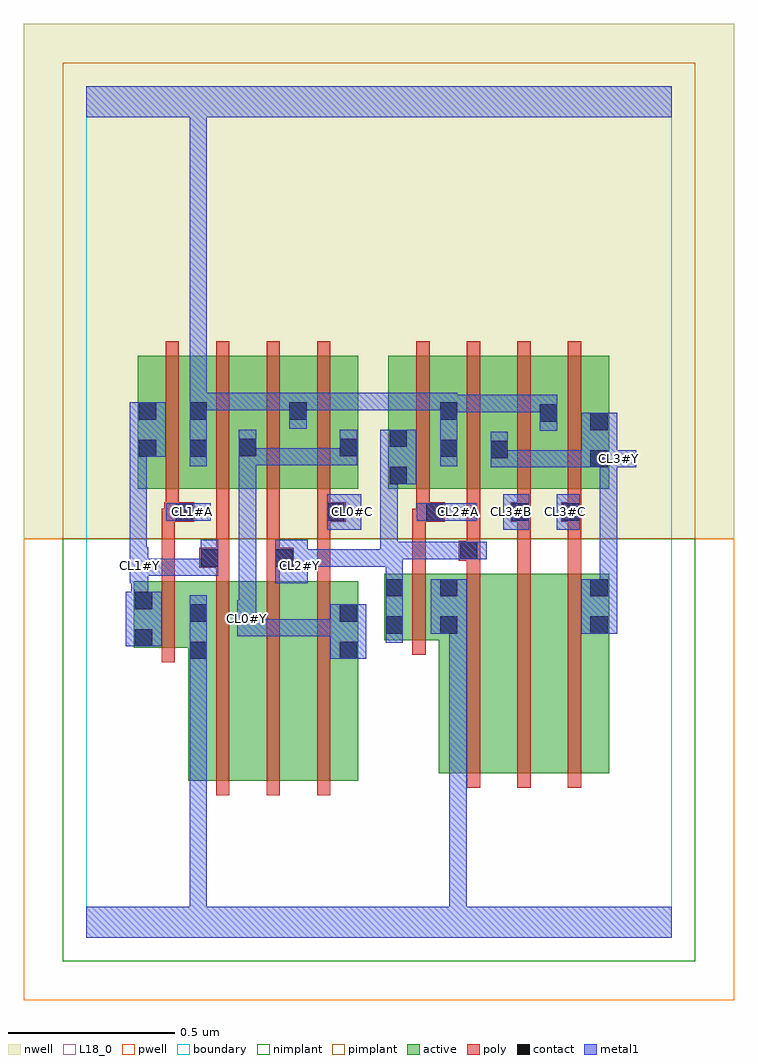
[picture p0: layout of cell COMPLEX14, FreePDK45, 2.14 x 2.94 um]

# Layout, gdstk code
import gdstk
lib = gdstk.Library(unit=1e-6, precision=1e-09)
def R(c, l, rs):  # rectangles x0, y0, x1, y1
    for r in rs: c.add(gdstk.rectangle(r[:2], r[2:], *l))
def A(c, l, x, y, w, h, nx, ny, dx, dy):  # array of equal rectangles
    R(c, l, [(x+i*dx, y+j*dy, x+i*dx+w, y+j*dy+h) for i in range(nx) for j in range(ny)])
active = (1, 0)
pwell = (2, 0)
nwell = (3, 0)
nimplant = (4, 0)
pimplant = (5, 0)
poly = (9, 0)
contact = (10, 0)
metal1 = (11, 0)
L18_0 = (18, 0)
boundary = (235, 0)

complex14 = lib.new_cell('COMPLEX14')
A(complex14, active, 0.454, 1.35, 0.06, 0.294, 3, 1, 0.152, 0)
A(complex14, active, 0.908, 1.35, 0.06, 0.294, 3, 1, 0.152, 0)
R(complex14, active, [(0.306,0.472,0.486,1.072), (0.486,0.472,0.638,1.072), (0.638,0.472,0.818,1.072), (1.06,0.494,1.24,1.094), (1.24,0.494,1.392,1.094), (1.392,0.494,1.572,1.094), (0.758,0.556,0.818,1.072), (1.512,0.556,1.572,1.094), (0.306,0.834,0.366,1.072), (0.142,0.872,0.366,1.072), (0.142,0.872,0.202,1.072), (0.896,0.894,1.12,1.094), (0.896,0.894,0.956,1.094), (1.06,0.91,1.12,1.094), (0.154,1.35,0.366,1.75), (0.154,1.35,0.214,1.75), (0.306,1.35,0.514,1.75), (0.454,1.35,0.666,1.75), (0.606,1.35,0.818,1.75), (0.908,1.35,1.12,1.75), (1.06,1.35,1.272,1.75), (1.212,1.35,1.42,1.75), (1.36,1.35,1.42,1.644), (1.36,1.35,1.572,1.75), (1.512,1.35,1.572,1.644), (0.306,1.442,0.366,1.644)])
R(complex14, pwell, [(-0.188,-0.188,1.948,1.2)])
R(complex14, nwell, [(-0.188,1.2,1.948,2.748)])
R(complex14, nimplant, [(-0.072,-0.072,1.832,1.2)])
R(complex14, pimplant, [(-0.072,1.2,1.832,2.632)])
A(complex14, poly, 0.39, 0.428, 0.04, 0.688, 3, 1, 0.152, 0)
A(complex14, poly, 1.144, 0.45, 0.04, 0.688, 3, 1, 0.152, 0)
A(complex14, poly, 0.238, 1.306, 0.04, 0.488, 4, 1, 0.152, 0)
A(complex14, poly, 0.992, 1.306, 0.04, 0.488, 4, 1, 0.152, 0)
R(complex14, poly, [(0.226,0.828,0.266,1.116), (0.98,0.85,1.02,1.138), (0.226,1.076,0.266,1.29), (0.39,1.076,0.43,1.152), (0.542,1.076,0.582,1.152), (0.694,1.076,0.734,1.29), (0.98,1.098,1.02,1.29), (1.144,1.098,1.184,1.174), (1.296,1.098,1.336,1.29), (1.448,1.098,1.488,1.29), (0.34,1.112,0.43,1.172), (0.542,1.112,0.624,1.172), (0.39,1.132,0.43,1.172), (0.39,1.132,0.43,1.172), (0.39,1.132,0.43,1.346), (0.542,1.132,0.582,1.172), (0.542,1.132,0.582,1.172), (0.542,1.132,0.582,1.346), (1.12,1.134,1.184,1.194), (1.144,1.154,1.184,1.194), (1.144,1.154,1.184,1.194), (1.144,1.154,1.184,1.346), (0.226,1.25,0.274,1.29), (0.234,1.25,0.274,1.29), (0.234,1.25,0.324,1.31), (0.694,1.25,0.734,1.29), (0.694,1.25,0.734,1.29), (0.694,1.25,0.78,1.31), (0.98,1.25,1.032,1.29), (0.992,1.25,1.032,1.29), (0.992,1.25,1.078,1.31), (1.276,1.25,1.336,1.31), (1.296,1.25,1.336,1.29), (1.296,1.25,1.336,1.29), (1.428,1.25,1.488,1.31), (0.238,1.27,0.278,1.346), (0.694,1.27,0.734,1.346), (0.992,1.27,1.032,1.346), (1.296,1.27,1.336,1.346), (1.448,1.27,1.488,1.346), (1.448,1.27,1.488,1.31), (1.448,1.27,1.488,1.31)])
R(complex14, contact, [(0.31,0.838,0.362,0.89), (0.762,0.838,0.814,0.89), (0.146,0.876,0.198,0.928), (0.9,0.914,0.952,0.966), (1.064,0.914,1.116,0.966), (1.516,0.914,1.568,0.966), (0.31,0.95,0.362,1.002), (0.762,0.95,0.814,1.002), (0.146,0.988,0.198,1.04), (0.9,1.026,0.952,1.078), (1.064,1.026,1.116,1.078), (1.516,1.026,1.568,1.078), (0.344,1.116,0.396,1.168), (0.568,1.116,0.62,1.168), (1.124,1.138,1.176,1.19), (0.268,1.254,0.32,1.306), (0.724,1.254,0.776,1.306), (1.022,1.254,1.074,1.306), (1.28,1.254,1.332,1.306), (1.432,1.254,1.484,1.306), (0.912,1.364,0.964,1.416), (1.516,1.414,1.568,1.466), (1.216,1.442,1.268,1.494), (0.158,1.446,0.21,1.498), (0.31,1.446,0.362,1.498), (1.064,1.446,1.116,1.498), (0.458,1.448,0.51,1.5), (0.762,1.448,0.814,1.5), (0.912,1.476,0.964,1.528), (1.516,1.526,1.568,1.578), (1.364,1.552,1.416,1.604), (0.158,1.558,0.21,1.61), (0.31,1.558,0.362,1.61), (0.61,1.558,0.662,1.61), (1.064,1.558,1.116,1.61)])
R(complex14, metal1, [(0,0,1.76,0.092), (0.31,0.04,0.362,0.092), (0.31,0.04,0.362,0.092), (0.31,0.04,0.362,0.092), (0.31,0.04,0.362,0.092), (0.31,0.04,0.362,0.092), (0.31,0.04,0.362,0.092), (0.31,0.04,0.362,0.862), (1.092,0.04,1.144,0.092), (1.092,0.04,1.144,0.092), (1.092,0.04,1.144,0.092), (1.092,0.04,1.144,0.092), (1.092,0.04,1.144,0.966), (0.31,0.81,0.362,0.862), (0.31,0.81,0.362,0.862), (0.31,0.81,0.362,1.03), (0.734,0.838,0.842,1.002), (0.118,0.876,0.226,1.04), (0.9,0.886,0.952,1.106), (0.454,0.906,0.51,1.014), (0.458,0.906,0.51,0.958), (0.458,0.906,0.51,0.958), (0.458,0.906,0.624,0.958), (0.572,0.906,0.624,0.958), (0.572,0.906,0.624,0.958), (0.572,0.906,0.624,0.958), (0.572,0.906,0.786,0.958), (0.734,0.906,0.786,0.958), (0.734,0.906,0.786,0.958), (1.036,0.914,1.144,1.078), (1.092,0.914,1.144,0.966), (1.092,0.914,1.144,0.966), (1.092,0.914,1.144,0.966), (1.092,0.914,1.144,0.966), (1.488,0.914,1.596,1.078), (0.458,0.962,0.51,1.472), (0.134,0.988,0.186,1.118), (1.544,1.026,1.596,1.466), (0.9,1.054,0.952,1.168), (0.13,1.066,0.186,1.174), (0.568,1.066,0.666,1.196), (0.134,1.088,0.186,1.14), (0.134,1.088,0.186,1.14), (0.134,1.088,0.396,1.14), (0.344,1.088,0.396,1.14), (0.344,1.088,0.396,1.14), (0.344,1.088,0.396,1.196), (0.614,1.116,0.666,1.168), (0.614,1.116,0.666,1.168), (0.614,1.116,0.776,1.168), (0.724,1.116,0.776,1.168), (0.724,1.116,0.776,1.168), (0.724,1.116,0.776,1.168), (0.724,1.116,0.936,1.168), (0.884,1.116,0.952,1.19), (0.13,1.122,0.182,1.174), (0.13,1.122,0.182,1.174), (0.13,1.122,0.182,1.498), (0.884,1.138,0.936,1.416), (0.9,1.138,0.952,1.19), (0.9,1.138,0.952,1.19), (0.9,1.138,1.148,1.19), (1.096,1.138,1.148,1.19), (1.096,1.138,1.148,1.19), (1.096,1.138,1.204,1.19), (0.724,1.226,0.826,1.334), (1.254,1.226,1.332,1.334), (1.414,1.226,1.484,1.334), (0.24,1.254,0.374,1.306), (0.994,1.254,1.174,1.306), (0.884,1.364,0.936,1.416), (0.884,1.364,0.936,1.416), (0.884,1.364,0.992,1.528), (1.216,1.414,1.268,1.466), (1.216,1.414,1.268,1.466), (1.216,1.414,1.268,1.522), (1.216,1.414,1.43,1.466), (1.378,1.414,1.43,1.466), (1.378,1.414,1.43,1.466), (1.378,1.414,1.43,1.466), (1.378,1.414,1.54,1.466), (1.488,1.414,1.596,1.578), (1.544,1.414,1.596,1.466), (1.544,1.414,1.596,1.466), (1.544,1.414,1.596,1.466), (1.544,1.414,1.654,1.466), (0.31,1.418,0.362,1.638), (1.064,1.418,1.116,1.638), (0.458,1.42,0.51,1.472), (0.458,1.42,0.51,1.472), (0.458,1.42,0.51,1.528), (0.458,1.42,0.666,1.472), (0.614,1.42,0.666,1.472), (0.614,1.42,0.666,1.472), (0.614,1.42,0.666,1.472), (0.614,1.42,0.814,1.472), (0.762,1.42,0.814,1.472), (0.762,1.42,0.814,1.472), (0.762,1.42,0.814,1.528), (0.13,1.446,0.238,1.61), (1.364,1.524,1.416,1.632), (0.61,1.53,0.662,1.638), (1.064,1.58,1.116,1.632), (1.064,1.58,1.116,1.632), (1.064,1.58,1.258,1.632), (1.206,1.58,1.258,1.632), (1.206,1.58,1.258,1.632), (1.206,1.58,1.258,1.632), (1.206,1.58,1.416,1.632), (0.31,1.586,0.362,1.638), (0.31,1.586,0.362,1.638), (0.31,1.586,0.362,1.638), (0.31,1.586,0.362,1.638), (0.31,1.586,0.362,1.638), (0.31,1.586,0.362,1.638), (0.31,1.586,0.506,1.638), (0.31,1.586,0.362,2.52), (0.454,1.586,0.506,1.638), (0.454,1.586,0.506,1.638), (0.454,1.586,0.506,1.638), (0.454,1.586,0.662,1.638), (0.61,1.586,0.662,1.638), (0.61,1.586,0.662,1.638), (0.61,1.586,0.776,1.638), (0.724,1.586,0.776,1.638), (0.724,1.586,0.776,1.638), (0.724,1.586,0.776,1.638), (0.724,1.586,0.958,1.638), (0.906,1.586,0.958,1.638), (0.906,1.586,0.958,1.638), (0.906,1.586,0.958,1.638), (0.906,1.586,1.116,1.638), (0,2.468,1.76,2.56), (0.31,2.468,0.362,2.52), (0.31,2.468,0.362,2.52), (0.31,2.468,0.362,2.52), (0.31,2.468,0.362,2.52), (0.31,2.468,0.362,2.52), (0.31,2.468,0.362,2.52), (0.31,2.468,0.362,2.52), (0.31,2.468,0.362,2.52), (0.31,2.468,0.362,2.52), (0.31,2.468,0.362,2.52)])
A(complex14, L18_0, 1.094, 1.254, 0.052, 0.052, 3, 1, 0.16, 0)
R(complex14, L18_0, [(0,0,1.76,0.092), (0.31,0.04,0.362,0.092), (0.31,0.04,0.362,0.092), (0.31,0.04,0.362,0.092), (0.31,0.04,0.362,0.092), (0.31,0.04,0.362,0.092), (0.31,0.04,0.362,0.092), (0.31,0.04,0.362,0.862), (1.092,0.04,1.144,0.092), (1.092,0.04,1.144,0.092), (1.092,0.04,1.144,0.092), (1.092,0.04,1.144,0.092), (1.092,0.04,1.144,0.966), (0.31,0.81,0.362,0.862), (0.31,0.81,0.362,0.862), (0.31,0.81,0.362,1.03), (0.734,0.838,0.842,1.002), (0.118,0.876,0.226,1.04), (0.9,0.886,0.952,1.106), (0.454,0.906,0.51,1.014), (0.458,0.906,0.51,0.958), (0.458,0.906,0.51,0.958), (0.458,0.906,0.624,0.958), (0.572,0.906,0.624,0.958), (0.572,0.906,0.624,0.958), (0.572,0.906,0.624,0.958), (0.572,0.906,0.786,0.958), (0.734,0.906,0.786,0.958), (0.734,0.906,0.786,0.958), (1.036,0.914,1.144,1.078), (1.092,0.914,1.144,0.966), (1.092,0.914,1.144,0.966), (1.092,0.914,1.144,0.966), (1.092,0.914,1.144,0.966), (1.488,0.914,1.596,1.078), (0.454,0.934,0.506,0.986), (0.458,0.962,0.51,1.472), (0.134,0.988,0.186,1.118), (1.544,1.026,1.596,1.466), (0.9,1.054,0.952,1.168), (0.13,1.066,0.186,1.174), (0.568,1.066,0.666,1.196), (0.134,1.088,0.186,1.14), (0.134,1.088,0.186,1.14), (0.134,1.088,0.396,1.14), (0.344,1.088,0.396,1.14), (0.344,1.088,0.396,1.14), (0.344,1.088,0.396,1.196), (0.134,1.094,0.186,1.146), (0.614,1.094,0.666,1.146), (0.614,1.116,0.666,1.168), (0.614,1.116,0.666,1.168), (0.614,1.116,0.776,1.168), (0.724,1.116,0.776,1.168), (0.724,1.116,0.776,1.168), (0.724,1.116,0.776,1.168), (0.724,1.116,0.936,1.168), (0.884,1.116,0.952,1.19), (0.13,1.122,0.182,1.174), (0.13,1.122,0.182,1.174), (0.13,1.122,0.182,1.498), (0.884,1.138,0.936,1.416), (0.9,1.138,0.952,1.19), (0.9,1.138,0.952,1.19), (0.9,1.138,1.148,1.19), (1.096,1.138,1.148,1.19), (1.096,1.138,1.148,1.19), (1.096,1.138,1.204,1.19), (0.724,1.226,0.826,1.334), (1.254,1.226,1.332,1.334), (1.414,1.226,1.484,1.334), (0.24,1.254,0.374,1.306), (0.294,1.254,0.346,1.306), (0.774,1.254,0.826,1.306), (0.994,1.254,1.174,1.306), (0.884,1.364,0.992,1.528), (0.884,1.364,0.936,1.416), (0.884,1.364,0.936,1.416), (1.216,1.414,1.268,1.466), (1.216,1.414,1.268,1.466), (1.216,1.414,1.268,1.522), (1.216,1.414,1.43,1.466), (1.378,1.414,1.43,1.466), (1.378,1.414,1.43,1.466), (1.378,1.414,1.43,1.466), (1.378,1.414,1.54,1.466), (1.488,1.414,1.596,1.578), (1.544,1.414,1.596,1.466), (1.544,1.414,1.596,1.466), (1.544,1.414,1.596,1.466), (1.544,1.414,1.654,1.466), (1.574,1.414,1.626,1.466), (0.31,1.418,0.362,1.638), (1.064,1.418,1.116,1.638), (0.458,1.42,0.51,1.472), (0.458,1.42,0.51,1.472), (0.458,1.42,0.51,1.528), (0.458,1.42,0.666,1.472), (0.614,1.42,0.666,1.472), (0.614,1.42,0.666,1.472), (0.614,1.42,0.666,1.472), (0.614,1.42,0.814,1.472), (0.762,1.42,0.814,1.472), (0.762,1.42,0.814,1.472), (0.762,1.42,0.814,1.528), (0.13,1.446,0.238,1.61), (1.364,1.524,1.416,1.632), (0.61,1.53,0.662,1.638), (1.064,1.58,1.116,1.632), (1.064,1.58,1.116,1.632), (1.064,1.58,1.258,1.632), (1.206,1.58,1.258,1.632), (1.206,1.58,1.258,1.632), (1.206,1.58,1.258,1.632), (1.206,1.58,1.416,1.632), (0.31,1.586,0.362,1.638), (0.31,1.586,0.362,1.638), (0.31,1.586,0.362,1.638), (0.31,1.586,0.362,1.638), (0.31,1.586,0.362,1.638), (0.31,1.586,0.362,1.638), (0.31,1.586,0.362,2.52), (0.31,1.586,0.506,1.638), (0.454,1.586,0.506,1.638), (0.454,1.586,0.506,1.638), (0.454,1.586,0.506,1.638), (0.454,1.586,0.662,1.638), (0.61,1.586,0.662,1.638), (0.61,1.586,0.662,1.638), (0.61,1.586,0.776,1.638), (0.724,1.586,0.776,1.638), (0.724,1.586,0.776,1.638), (0.724,1.586,0.776,1.638), (0.724,1.586,0.958,1.638), (0.906,1.586,0.958,1.638), (0.906,1.586,0.958,1.638), (0.906,1.586,0.958,1.638), (0.906,1.586,1.116,1.638), (0,2.468,1.76,2.56), (0.31,2.468,0.362,2.52), (0.31,2.468,0.362,2.52), (0.31,2.468,0.362,2.52), (0.31,2.468,0.362,2.52), (0.31,2.468,0.362,2.52), (0.31,2.468,0.362,2.52), (0.31,2.468,0.362,2.52), (0.31,2.468,0.362,2.52), (0.31,2.468,0.362,2.52), (0.31,2.468,0.362,2.52)])
R(complex14, boundary, [(0,0,1.76,2.56)])
complex14.add(gdstk.Label('CL0#C', (0.8,1.28), layer=11, texttype=0))
complex14.add(gdstk.Label('CL0#Y', (0.48,0.96), layer=11, texttype=0))
complex14.add(gdstk.Label('CL1#A', (0.32,1.28), layer=11, texttype=0))
complex14.add(gdstk.Label('CL1#Y', (0.16,1.12), layer=11, texttype=0))
complex14.add(gdstk.Label('CL2#A', (1.12,1.28), layer=11, texttype=0))
complex14.add(gdstk.Label('CL2#Y', (0.64,1.12), layer=11, texttype=0))
complex14.add(gdstk.Label('CL3#B', (1.28,1.28), layer=11, texttype=0))
complex14.add(gdstk.Label('CL3#C', (1.44,1.28), layer=11, texttype=0))
complex14.add(gdstk.Label('CL3#Y', (1.6,1.44), layer=11, texttype=0))

lib.write_gds('COMPLEX14.gds')
